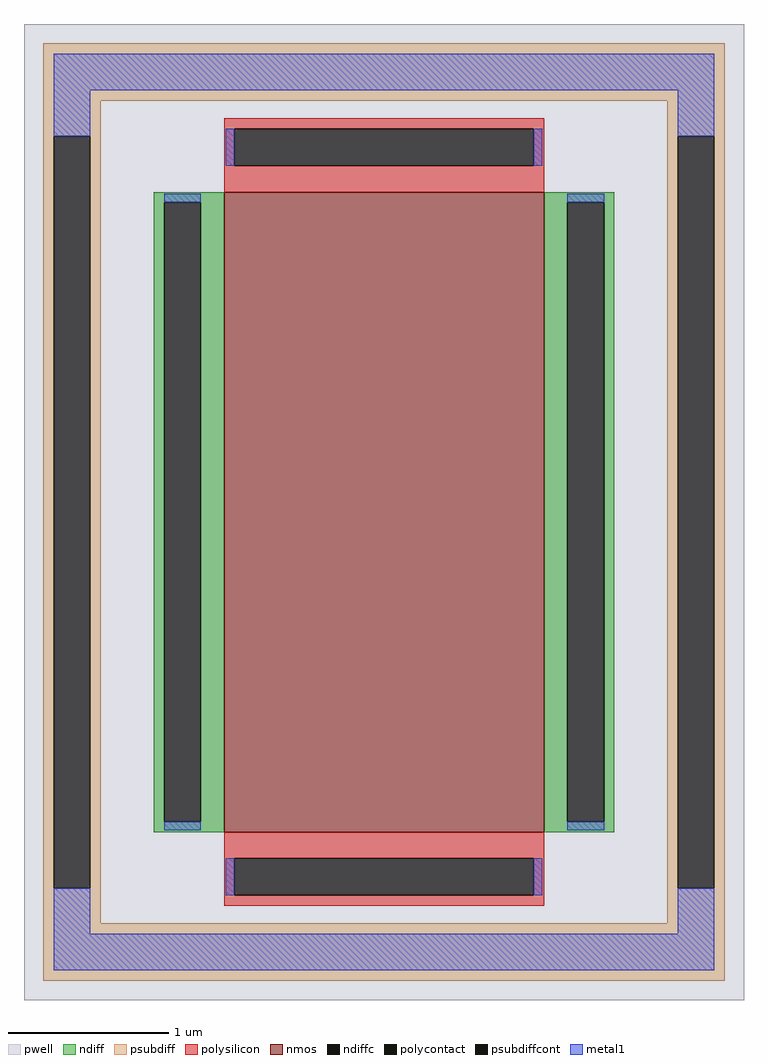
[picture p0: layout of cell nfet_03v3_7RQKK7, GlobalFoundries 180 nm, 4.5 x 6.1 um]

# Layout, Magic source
magic
tech gf180mcuD
magscale 1 10
<< pwell >>
rect -450 -610 450 610
<< nmos >>
rect -200 -400 200 400
<< ndiff >>
rect -288 387 -200 400
rect -288 -387 -275 387
rect -229 -387 -200 387
rect -288 -400 -200 -387
rect 200 387 288 400
rect 200 -387 229 387
rect 275 -387 288 387
rect 200 -400 288 -387
<< ndiffc >>
rect -275 -387 -229 387
rect 229 -387 275 387
<< psubdiff >>
rect -426 514 426 586
rect -426 470 -354 514
rect -426 -470 -413 470
rect -367 -470 -354 470
rect 354 470 426 514
rect -426 -514 -354 -470
rect 354 -470 367 470
rect 413 -470 426 470
rect 354 -514 426 -470
rect -426 -586 426 -514
<< psubdiffcont >>
rect -413 -470 -367 470
rect 367 -470 413 470
<< polysilicon >>
rect -200 479 200 492
rect -200 433 -187 479
rect 187 433 200 479
rect -200 400 200 433
rect -200 -433 200 -400
rect -200 -479 -187 -433
rect 187 -479 200 -433
rect -200 -492 200 -479
<< polycontact >>
rect -187 433 187 479
rect -187 -479 187 -433
<< metal1 >>
rect -413 527 413 573
rect -413 470 -367 527
rect -198 433 -187 479
rect 187 433 198 479
rect 367 470 413 527
rect -275 387 -229 398
rect -275 -398 -229 -387
rect 229 387 275 398
rect 229 -398 275 -387
rect -413 -527 -367 -470
rect -198 -479 -187 -433
rect 187 -479 198 -433
rect 367 -527 413 -470
rect -413 -573 413 -527
<< properties >>
string FIXED_BBOX -390 -550 390 550
string gencell nfet_03v3
string library gf180mcu
string parameters w 4 l 2 m 1 nf 1 diffcov 100 polycov 100 guard 1 glc 1 grc 1 gtc 0 gbc 0 tbcov 100 rlcov 100 topc 1 botc 1 poverlap 0 doverlap 1 lmin 0.28 wmin 0.22 class mosfet full_metal 1 compatible {nfet_03v3 nfet_06v0 nfet_06v0_nvt}
<< end >>
